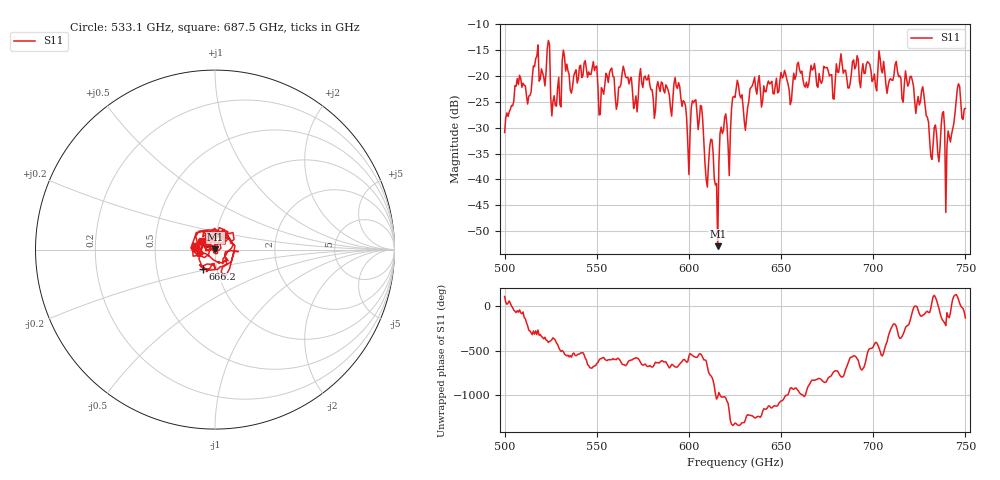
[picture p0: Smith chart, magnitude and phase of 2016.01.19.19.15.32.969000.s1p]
!Created with skrf (http://scikit-rf.org).
# GHz S RI R 50.0
!freq ReS11 ImS11
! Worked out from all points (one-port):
!   401 points, 500 GHz to 750 GHz, reference 50 ohm
!   lowest |S11| = -52.9 dB at 615.6 GHz (marker M1), VSWR 1.00, Z = 50.1 + j0.198 ohm
!   |S11| at or under -10 dB: start of sweep to end of sweep
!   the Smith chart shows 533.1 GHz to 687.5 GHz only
!   S11 on the Smith chart (normalised r, x): 533.1 GHz: 0.80, +0.02; 666.2 GHz: 0.86, -0.19; 687.5 GHz: 0.86, +0.08
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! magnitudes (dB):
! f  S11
! 500 GHz  -30.9
! 516.9 GHz  -16.6
! 523.8 GHz  -13.1
! 526.9 GHz  -23.8
! 531.2 GHz  -17.1
! 533.1 GHz  -19.0
! 562.5 GHz  -22.2
! 593.8 GHz  -22.4
! 599.4 GHz  -32.9
! 603.1 GHz  -24.7
! 609.4 GHz  -40.0
! 611.9 GHz  -32.3
! 615.6 GHz  -52.9
! 618.1 GHz  -31.1
! 621.9 GHz  -39.3
! 625 GHz  -24.1
! 630.6 GHz  -30.5
! 634.4 GHz  -21.9
! 656.2 GHz  -21.7
! 666.2 GHz  -17.9
! 687.5 GHz  -21.4
! 718.8 GHz  -22.0
! 727.5 GHz  -23.7
! 731.9 GHz  -36.1
! 737.5 GHz  -27.3
! 740.6 GHz  -30.6
! 746.2 GHz  -21.5
! 750 GHz  -26.3
